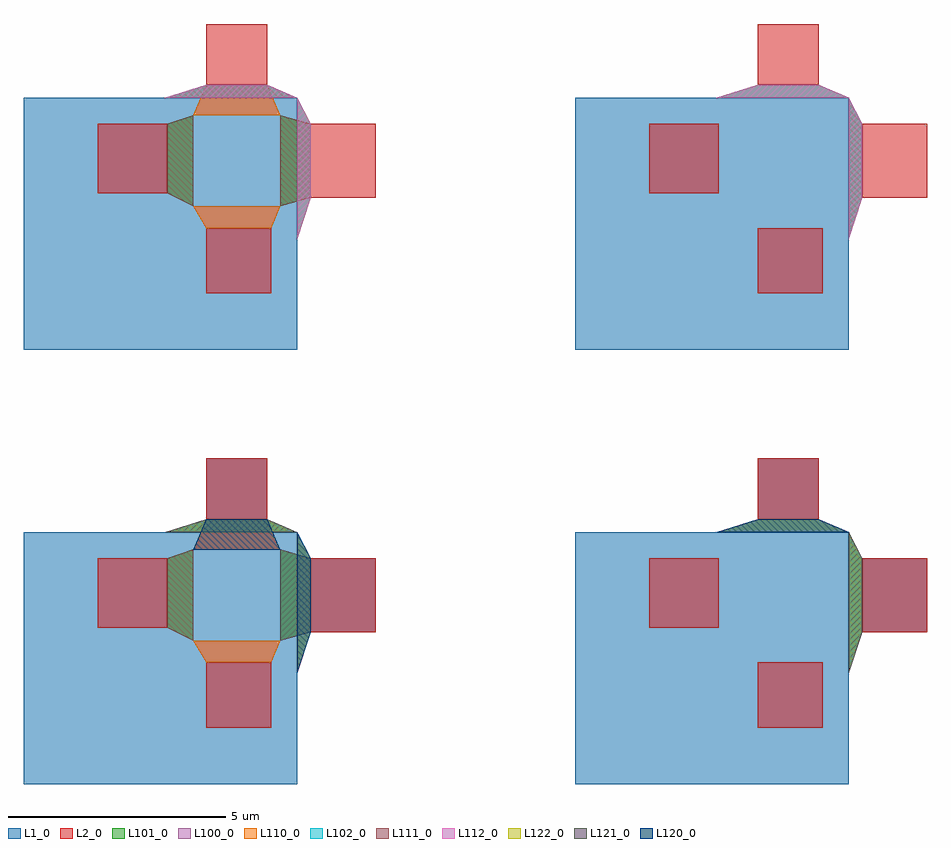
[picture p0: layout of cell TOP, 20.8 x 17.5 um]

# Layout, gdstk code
import gdstk
lib = gdstk.Library(unit=1e-6, precision=1e-09)
def R(c, l, rs):  # rectangles x0, y0, x1, y1
    for r in rs: c.add(gdstk.rectangle(r[:2], r[2:], *l))
def P(c, l, *ps):  # polygons
    for p in ps: c.add(gdstk.Polygon(p, *l))
L1_0 = (1, 0)
L2_0 = (2, 0)
L100_0 = (100, 0)
L101_0 = (101, 0)
L102_0 = (102, 0)
L110_0 = (110, 0)
L111_0 = (111, 0)
L112_0 = (112, 0)
L120_0 = (120, 0)
L121_0 = (121, 0)
L122_0 = (122, 0)

top = lib.new_cell('TOP')
R(top, L1_0, [(0,0,6.3,5.8), (12.7,0,19,5.8), (3.9,3.3,5.9,5.4), (16.6,3.3,18.6,5.4), (6.6,3.5,8.1,5.2), (19.3,3.5,20.8,5.2), (4.2,6.1,5.6,7.5), (16.9,6.1,18.3,7.5), (0,10,6.3,15.8), (12.7,10,19,15.8), (3.9,13.3,5.9,15.4), (16.6,13.3,18.6,15.4)])
R(top, L2_0, [(4.2,1.3,5.7,2.8), (16.9,1.3,18.4,2.8), (6.6,3.5,8.1,5.2), (19.3,3.5,20.8,5.2), (1.7,3.6,3.3,5.2), (14.4,3.6,16,5.2), (4.2,6.1,5.6,7.5), (16.9,6.1,18.3,7.5), (4.2,11.3,5.7,12.8), (16.9,11.3,18.4,12.8), (6.6,13.5,8.1,15.2), (19.3,13.5,20.8,15.2), (1.7,13.6,3.3,15.2), (14.4,13.6,16,15.2), (4.2,16.1,5.6,17.5), (16.9,16.1,18.3,17.5)])
P(top, L100_0, [(6.299,2.545),(6.299,5.801),(6.601,5.201),(6.601,3.499)],
  [(15.945,5.799),(16.899,6.101),(18.301,6.101),(19.001,5.799)],
  [(3.899,5.399),(4.199,6.101),(5.601,6.101),(5.901,5.399)],
  [(4.199,2.799),(3.899,3.301),(5.901,3.301),(5.701,2.799)],
  [(6.299,12.545),(6.299,15.801),(6.601,15.201),(6.601,13.499)],
  [(15.945,15.799),(16.899,16.101),(18.301,16.101),(19.001,15.799)],
  [(3.899,15.399),(4.199,16.101),(5.601,16.101),(5.901,15.399)],
  [(4.199,12.799),(3.899,13.301),(5.901,13.301),(5.701,12.799)])
P(top, L101_0, [(3.245,5.799),(4.199,6.101),(5.601,6.101),(6.301,5.799)],
  [(5.899,3.299),(5.899,5.401),(6.601,5.201),(6.601,3.499)],
  [(18.999,2.545),(18.999,5.801),(19.301,5.201),(19.301,3.499)],
  [(3.245,15.799),(4.199,16.101),(5.601,16.101),(6.301,15.799)],
  [(3.901,13.299),(3.299,13.599),(3.299,15.201),(3.901,15.401)],
  [(3.901,3.299),(3.299,3.599),(3.299,5.201),(3.901,5.401)],
  [(5.899,13.299),(5.899,15.401),(6.601,15.201),(6.601,13.499)],
  [(18.999,12.545),(18.999,15.801),(19.301,15.201),(19.301,13.499)])
P(top, L102_0, [(3.245,5.799),(4.199,6.101),(5.601,6.101),(6.301,5.799)],
  [(6.299,2.545),(6.299,5.801),(6.601,5.201),(6.601,3.499)],
  [(15.945,5.799),(16.899,6.101),(18.301,6.101),(19.001,5.799)],
  [(18.999,2.545),(18.999,5.801),(19.301,5.201),(19.301,3.499)],
  [(3.245,15.799),(4.199,16.101),(5.601,16.101),(6.301,15.799)],
  [(6.299,12.545),(6.299,15.801),(6.601,15.201),(6.601,13.499)],
  [(15.945,15.799),(16.899,16.101),(18.301,16.101),(19.001,15.799)],
  [(18.999,12.545),(18.999,15.801),(19.301,15.201),(19.301,13.499)])
P(top, L110_0, [(3.899,15.399),(4.199,16.101),(5.601,16.101),(5.901,15.399)],
  [(4.199,12.799),(3.899,13.301),(5.901,13.301),(5.701,12.799)],
  [(6.299,2.545),(6.299,5.801),(6.601,5.201),(6.601,3.499)],
  [(3.899,5.399),(4.199,6.101),(5.601,6.101),(5.901,5.399)],
  [(4.199,2.799),(3.899,3.301),(5.901,3.301),(5.701,2.799)],
  [(15.945,15.799),(16.899,16.101),(18.301,16.101),(19.001,15.799)],
  [(15.945,5.799),(16.899,6.101),(18.301,6.101),(19.001,5.799)],
  [(6.299,12.545),(6.299,15.801),(6.601,15.201),(6.601,13.499)])
P(top, L111_0, [(3.245,15.799),(4.199,16.101),(5.601,16.101),(6.301,15.799)],
  [(3.901,3.299),(3.299,3.599),(3.299,5.201),(3.901,5.401)],
  [(3.901,13.299),(3.299,13.599),(3.299,15.201),(3.901,15.401)],
  [(18.999,12.545),(18.999,15.801),(19.301,15.201),(19.301,13.499)],
  [(5.899,13.299),(5.899,15.401),(6.601,15.201),(6.601,13.499)])
P(top, L112_0, [(18.999,12.545),(18.999,15.801),(19.301,15.201),(19.301,13.499)],
  [(3.245,15.799),(4.199,16.101),(5.601,16.101),(6.301,15.799)],
  [(15.945,15.799),(16.899,16.101),(18.301,16.101),(19.001,15.799)],
  [(6.299,12.545),(6.299,15.801),(6.601,15.201),(6.601,13.499)])
P(top, L120_0, [(15.945,5.799),(16.899,6.101),(18.301,6.101),(19.001,5.799)],
  [(3.899,5.399),(4.199,6.101),(5.601,6.101),(5.901,5.399)],
  [(6.299,2.545),(6.299,5.801),(6.601,5.201),(6.601,3.499)])
P(top, L121_0, [(18.999,2.545),(18.999,5.801),(19.301,5.201),(19.301,3.499)],
  [(3.245,5.799),(4.199,6.101),(5.601,6.101),(6.301,5.799)],
  [(5.899,3.299),(5.899,5.401),(6.601,5.201),(6.601,3.499)])
P(top, L122_0, [(3.245,5.799),(4.199,6.101),(5.601,6.101),(6.301,5.799)],
  [(15.945,5.799),(16.899,6.101),(18.301,6.101),(19.001,5.799)],
  [(18.999,2.545),(18.999,5.801),(19.301,5.201),(19.301,3.499)],
  [(6.299,2.545),(6.299,5.801),(6.601,5.201),(6.601,3.499)])

lib.write_gds('TOP.gds')
